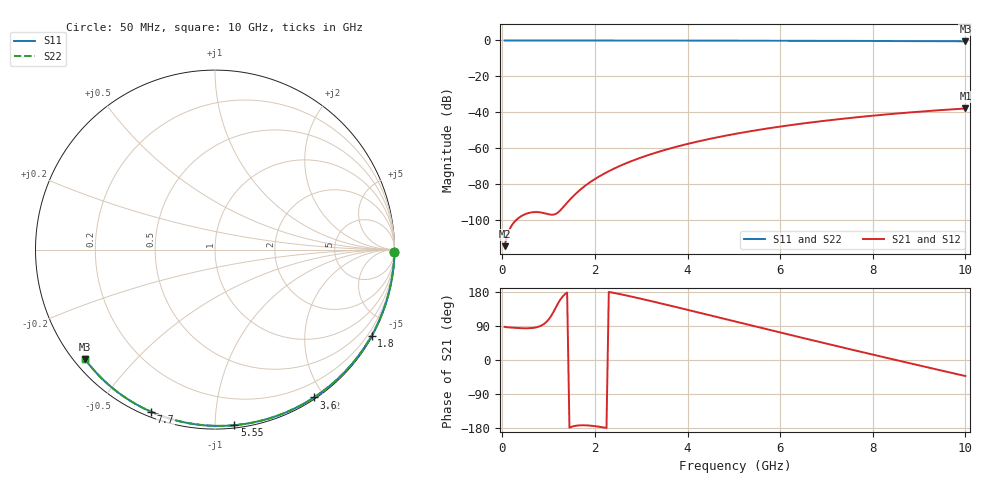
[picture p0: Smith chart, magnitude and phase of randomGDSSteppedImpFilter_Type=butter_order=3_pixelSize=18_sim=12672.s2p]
! freq	dB(S11)	phase(S11)	dB(S12)	phase(S12)
!  dB(S21)	phase(S21)	dB(S22)	phase(S22)
!S-par simulation data
#  GHz  S  DB  R 50
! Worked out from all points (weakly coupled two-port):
!   200 points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, 50 MHz to 10 GHz, reference 50 ohm
!   highest |S21| = -37.95 dB at 10 GHz (marker M1); lowest = -114.8 dB at 50 MHz (marker M2)
!   lowest |S11| = -0.5 dB at 10 GHz (marker M3), VSWR 36.79, Z = 1.54 - j18.2 ohm
!   |S11| at or under -10 dB: nowhere
!   |S22| runs from -0.5 to 0.0 dB; largest |S21 - S12| = 0
!   S11 on the Smith chart (normalised r, x): 50 MHz: open; 1.8 GHz: 0.03, -3.90; 3.6 GHz: 0.02, -1.87; 5.55 GHz: 0.02, -1.12; 7.7 GHz: 0.02, -0.68; 10 GHz: 0.03, -0.36
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0.05  -0.00 -0.8  -114.75 87.5  -114.75 87.5  -0.00 -0.8
0.45  -0.01 -7.3  -97.42 83.7  -97.42 83.7  -0.01 -7.3
0.9  -0.02 -14.5  -96.30 95.1  -96.30 95.1  -0.02 -14.5
1.75  -0.04 -28.0  -81.85 -172.2  -81.85 -172.2  -0.04 -28.0
1.8  -0.04 -28.8  -80.85 -172.4  -80.85 -172.4  -0.04 -28.8
1.85  -0.04 -29.6  -79.90 -172.7  -79.90 -172.7  -0.04 -29.5
2  -0.04 -31.9  -77.31 -174.5  -77.31 -174.5  -0.04 -31.9
2.15  -0.04 -34.2  -74.99 -177.2  -74.99 -177.2  -0.04 -34.2
2.35  -0.05 -37.3  -72.27 178.5  -72.27 178.5  -0.05 -37.3
2.55  -0.05 -40.4  -69.86 173.6  -69.86 173.6  -0.05 -40.4
2.95  -0.06 -46.5  -65.75 162.9  -65.75 162.9  -0.06 -46.5
3.4  -0.07 -53.2  -61.91 150.1  -61.91 150.1  -0.07 -53.2
3.6  -0.08 -56.2  -60.42 144.3  -60.42 144.3  -0.08 -56.2
4.3  -0.09 -66.3  -55.91 123.5  -55.91 123.5  -0.09 -66.3
5.05  -0.12 -76.9  -52.01 101.0  -52.01 101.0  -0.12 -76.9
5.55  -0.14 -83.7  -49.81 86.1  -49.81 86.1  -0.14 -83.7
6.1  -0.16 -91.1  -47.67 69.7  -47.67 69.7  -0.16 -91.1
6.7  -0.19 -98.9  -45.62 52.0  -45.62 52.0  -0.19 -98.9
7.7  -0.26 -111.6  -42.73 22.9  -42.73 22.9  -0.26 -111.6
8.35  -0.31 -119.7  -41.13 4.2  -41.13 4.2  -0.31 -119.7
9.2  -0.38 -130.1  -39.34 -19.9  -39.34 -19.9  -0.38 -130.1
10  -0.47 -139.9  -37.95 -42.3  -37.95 -42.3  -0.47 -139.8
